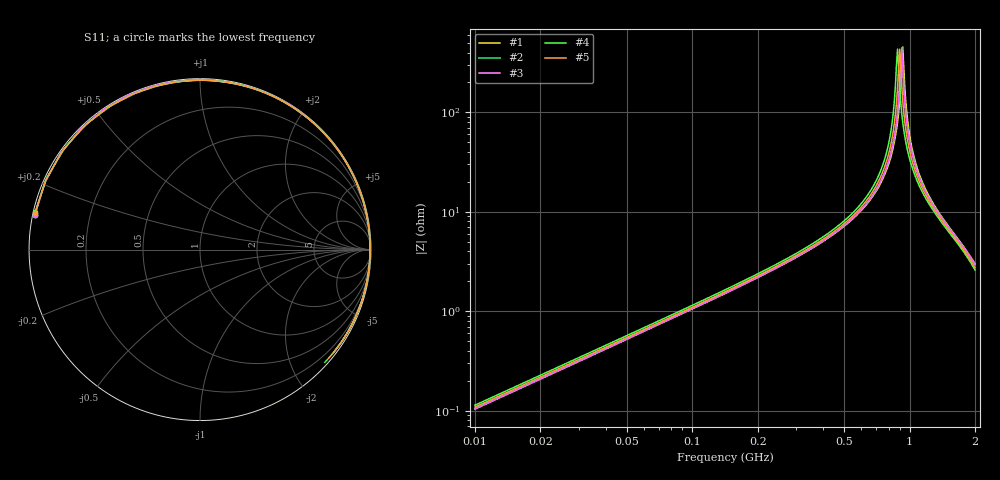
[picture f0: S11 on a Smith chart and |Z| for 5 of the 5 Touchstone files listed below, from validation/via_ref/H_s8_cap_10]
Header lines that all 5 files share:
! H_s8_cap_10: PDN loop: BGA pin field to a 0402 capacitor 10 mm away
! stackup: 8-layer 1.6 mm FR-4 (generic)
! ports: 1 IC pins
# Hz S RI R 1
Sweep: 10 MHz to 2 GHz
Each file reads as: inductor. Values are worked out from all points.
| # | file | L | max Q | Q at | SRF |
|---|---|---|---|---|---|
| 1 | cst.s1p | 1.66 nH | 182 | 130 MHz | 920 MHz |
| 2 | cst_fine.s1p | 1.67 nH | 181 | 130 MHz | 920 MHz |
| 3 | kisi.s1p | 1.65 nH | 240 | 160 MHz | 910 MHz |
| 4 | openems.s1p | 1.8 nH | 134 | 160 MHz | 870 MHz |
| 5 | openems_base.s1p | 1.73 nH | 137 | 180 MHz | 900 MHz |
